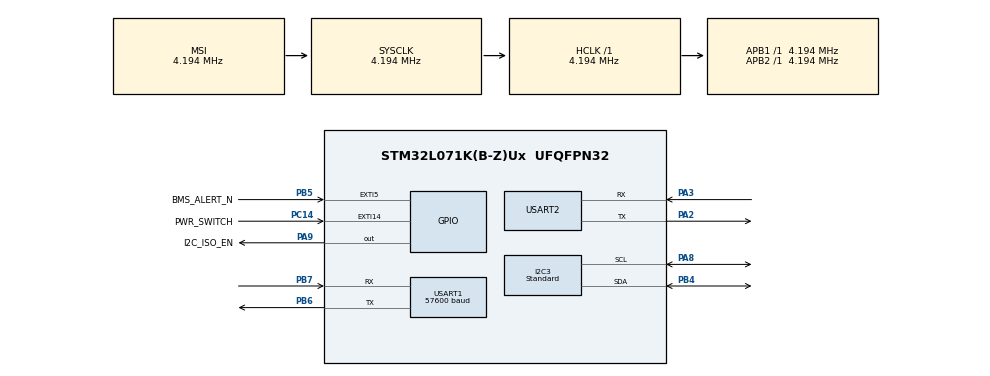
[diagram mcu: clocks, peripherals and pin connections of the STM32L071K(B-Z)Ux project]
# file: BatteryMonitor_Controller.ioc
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CRC.CRCLength=CRC_POLYLENGTH_8B
CRC.DefaultInitValueUse=DEFAULT_INIT_VALUE_DISABLE
CRC.DefaultPolynomialUse=DEFAULT_POLYNOMIAL_DISABLE
I2C3.I2C_Speed_Mode=I2C_Standard
I2C3.OwnAddress=0
I2C3.Timing=0x00100E16
IWDG.Prescaler=IWDG_PRESCALER_256
Mcu.Family=STM32L0
Mcu.Name=STM32L071K(B-Z)Ux
Mcu.Package=UFQFPN32
NVIC.EXTI4_15_IRQn=true\:1\:0\:true\:false\:true\:true\:true\:true
NVIC.USART1_IRQn=true\:2\:0\:true\:false\:true\:true\:true\:true
NVIC.USART2_IRQn=true\:3\:0\:true\:false\:true\:true\:true\:true
PA13.Mode=Serial_Wire
PA13.Signal=SYS_SWDIO
PA14.Mode=Serial_Wire
PA14.Signal=SYS_SWCLK
PA2.Mode=Asynchronous
PA2.Signal=USART2_TX
PA3.Mode=Asynchronous
PA3.Signal=USART2_RX
PA8.Mode=I2C
PA8.Signal=I2C3_SCL
PA9.GPIO_Label=I2C_ISO_EN
PA9.GPIO_ModeDefaultOutputPP=GPIO_MODE_OUTPUT_PP
PA9.GPIO_PuPd=GPIO_NOPULL
PA9.PinState=GPIO_PIN_RESET
PA9.Signal=GPIO_Output
PB4.Mode=I2C
PB4.Signal=I2C3_SDA
PB5.GPIO_Label=BMS_ALERT_N
PB5.GPIO_ModeDefaultEXTI=GPIO_MODE_IT_FALLING
PB5.Signal=GPXTI5
PB6.Mode=Asynchronous
PB6.Signal=USART1_TX
PB7.Mode=Asynchronous
PB7.Signal=USART1_RX
PC14-OSC32_IN.GPIO_Label=PWR_SWITCH
PC14-OSC32_IN.GPIO_ModeDefaultEXTI=GPIO_MODE_IT_RISING_FALLING
PC14-OSC32_IN.GPIO_PuPd=GPIO_PULLUP
PC14-OSC32_IN.Signal=GPXTI14
ProjectManager.HeapSize=0x200
ProjectManager.StackSize=0x400
ProjectManager.TargetToolchain=STM32CubeIDE
RCC.AHBFreq_Value=4194000
RCC.APB1Freq_Value=4194000
RCC.APB1TimFreq_Value=4194000
RCC.APB2Freq_Value=4194000
RCC.APB2TimFreq_Value=4194000
RCC.HCLKFreq_Value=4194000
RCC.HSI16_VALUE=16000000
RCC.HSI_VALUE=16000000
RCC.LSE_VALUE=32768
RCC.MSIClockRange=RCC_MSIRANGE_6
RCC.MSI_VALUE=4194000
RCC.PWR_Regulator_Voltage_Scale=PWR_REGULATOR_VOLTAGE_SCALE3
RCC.SYSCLKFreq_VALUE=4194000
RCC.VCOOutputFreq_Value=48000000
USART1.BaudRate=57600
USART1.VirtualMode-Asynchronous=VM_ASYNC
USART2.VirtualMode-Asynchronous=VM_ASYNC
VP_CRC_VS_CRC.Mode=CRC_Activate
VP_IWDG_VS_IWDG.Mode=IWDG_Activate
board=custom

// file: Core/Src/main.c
/* USER CODE BEGIN Header */
/**
  ******************************************************************************
  * @file           : main.c
  * @brief          : Main program body
  ******************************************************************************
  * @attention
  *
  * Copyright (c) 2024 STMicroelectronics.
  * All rights reserved.
  *
  * This software is licensed under terms that can be found in the LICENSE file
  * in the root directory of this software component.
  * If no LICENSE file comes with this software, it is provided AS-IS.
  *
  ******************************************************************************
  */
/* USER CODE END Header */
#include "main.h"

/* USER CODE BEGIN Includes */
#include "retarget.h"
#include <stdio.h>
#include <string.h>
#include "bms.h"
#include "uart_host.h"
/* USER CODE END Includes */

CRC_HandleTypeDef hcrc;

I2C_HandleTypeDef hi2c3;

IWDG_HandleTypeDef hiwdg;

UART_HandleTypeDef huart1;
UART_HandleTypeDef huart2;

/* USER CODE BEGIN PV */
//power switch status and debouncing logic variables
static uint8_t pwrsw_debounce_count = 0;
static GPIO_PinState pwrsw_last_state = GPIO_PIN_SET;
bool pwrsw_status = false;

//whether the current main loop cycle follows stop mode
static bool wakeup_from_stop = false;
/* USER CODE END PV */

void SystemClock_Config(void);
static void MX_GPIO_Init(void);
static void MX_I2C3_Init(void);
static void MX_USART2_UART_Init(void);
static void MX_CRC_Init(void);
static void MX_IWDG_Init(void);
static void MX_USART1_UART_Init(void);

/* USER CODE BEGIN 0 */
static __always_inline void _RefreshWatchdogs() {
  //HAL_WWDG_Refresh(&hwwdg);
  HAL_IWDG_Refresh(&hiwdg);
}

static void _TestReadDataMem() {
  uint8_t data_mem_values[115] = { 0 };

  DEBUG_PRINTF("Reading contiguous data memory...\n");
  if (BMS_I2C_DataMemoryRead(MEMADDR_CAL_CELL1_GAIN, data_mem_values, 0x5E, 3) == HAL_OK) {
    DEBUG_PRINTF("Success: Contiguous memory read\n");
  } else {
    DEBUG_PRINTF("Contiguous data memory read failed!\n");
  }

  DEBUG_PRINTF("Reading extra data memory...\n");
  if (BMS_I2C_DataMemoryRead(MEMADDR_CAL_CELL4_DELTA, data_mem_values + 0x71, 2, 3) == HAL_OK) {
    DEBUG_PRINTF("Success: Extra memory read\n");
  } else {
    DEBUG_PRINTF("Extra data memory read failed!\n");
  }

  HAL_Delay(10);

  uint8_t configured_mem_values[115] __attribute__((aligned (2))) = { 0 };
  memcpy(configured_mem_values + 0x14, bms_config_main_array, sizeof(bms_config_main_array));
  *(uint16_t*)(configured_mem_values + 0x06) = BMS_CAL_CURR_GAIN;
  *(uint16_t*)(configured_mem_values + 0x0A) = BMS_CAL_CC1_GAIN;

  int i, j;
  DEBUG_PRINTF("\n     _0 _1 _2 _3 _4 _5 _6 _7 _8 _9 _A _B _C _D _E _F\n");
  for (i = 0; i < 8; i++) {
    int end = (i == 7) ? 3 : 16;

    DEBUG_PRINTF("\n r%X_", i);
    for (j = 0; j < end; j++) {
      DEBUG_PRINTF(" %02X", data_mem_values[16 * i + j]);
    }
    DEBUG_PRINTF("\n c%X_", i);
    for (j = 0; j < end; j++) {
      DEBUG_PRINTF(" %02X", configured_mem_values[16 * i + j]);
    }
    DEBUG_PRINTF("\n");
  }
}

GPIO_PinState GPIO_ReadOutputPin(GPIO_TypeDef *GPIOx, uint16_t GPIO_Pin)
{
  GPIO_PinState bitstatus;

  if ((GPIOx->ODR & GPIO_Pin) != (uint32_t)GPIO_PIN_RESET) {
    bitstatus = GPIO_PIN_SET;
  } else {
    bitstatus = GPIO_PIN_RESET;
  }
  return bitstatus;
}

void HAL_GPIO_EXTI_Callback(uint16_t GPIO_Pin) {
  switch (GPIO_Pin) {
    case BMS_ALERT_N_Pin:
      BMS_AlertInterrupt();
      break;
    case PWR_SWITCH_Pin:
      pwrsw_last_state = HAL_GPIO_ReadPin(PWR_SWITCH_GPIO_Port, PWR_SWITCH_Pin);
      pwrsw_debounce_count = MAIN_PWRSW_DEBOUNCE_CYCLES;
      break;
  }
}

void HAL_UART_TxCpltCallback(UART_HandleTypeDef* huart) {
  if (huart == &huart1) {
    UARTH_UART_TxCpltCallback(huart);
  } else if (huart == &huart2) {
    Retarget_UART_TxCpltCallback(huart);
  }
}
/* USER CODE END 0 */

int main(void)
{
  /* USER CODE BEGIN 1 */
  static uint32_t wu_count = 0;
  /* USER CODE END 1 */

  /* MCU Configuration--------------------------------------------------------*/

  /* Reset of all peripherals, Initializes the Flash interface and the Systick. */
  HAL_Init();

  /* Configure the system clock */
  SystemClock_Config();

  /* Initialize all configured peripherals */
  MX_GPIO_Init();
  MX_I2C3_Init();
  MX_USART2_UART_Init();
  MX_CRC_Init();
  MX_IWDG_Init();
  MX_USART1_UART_Init();
  /* USER CODE BEGIN 2 */
  RetargetInit(&huart2);

  //HAL_Delay(10);
  _RefreshWatchdogs();

  DEBUG_PRINTF("Controller started\n");

  //HAL_Delay(1000);

  pwrsw_debounce_count = 0;
  pwrsw_status = (HAL_GPIO_ReadPin(PWR_SWITCH_GPIO_Port, PWR_SWITCH_Pin) == GPIO_PIN_RESET);
  wakeup_from_stop = false;

  //configure for lowest power - not sure if compatible with stop mode, but won't hurt
  HAL_PWREx_EnableUltraLowPower();
  HAL_PWREx_EnableFastWakeUp();

  if (UARTH_Init() == HAL_OK) {
    DEBUG_PRINTF("Host UART init completed\n");
  } else {
    DEBUG_PRINTF("ERROR: Host UART init failed!\n");
    HAL_Delay(100);
    Error_Handler();
  }

  if (pwrsw_status) {
    //if starting powered on: enable isolator and allow one UART hardware error
    uarth_ignore_one_hardware_error = true;
    HAL_GPIO_WritePin(I2C_ISO_EN_GPIO_Port, I2C_ISO_EN_Pin, GPIO_PIN_SET);
  }
  //queue MCU reset notification (will only go through if powered on at startup)
  UARTH_Notification_Event_MCUReset();

  _RefreshWatchdogs();

  if (BMS_Init() == HAL_OK) {
    DEBUG_PRINTF("BMS init completed\n");
  } else {
    DEBUG_PRINTF("ERROR: BMS init failed!\n");
    HAL_Delay(100);
    Error_Handler();
  }

  //HAL_Delay(10);

  _TestReadDataMem();

  //HAL_Delay(10);

  _RefreshWatchdogs();
  /* USER CODE END 2 */

  /* Infinite loop */
  /* USER CODE BEGIN WHILE */
  //loop iteration counter - even if extremely unlikely wrap-around happens, it shouldn't be critical
  uint32_t loop_count = 0;
  while (1)
  {
    /* USER CODE END WHILE */

    /* USER CODE BEGIN 3 */
    uint32_t iteration_start_tick = HAL_GetTick();

    //check power switch: handle debouncing or see if it changed outside of debouncing somehow
    GPIO_PinState switch_state = HAL_GPIO_ReadPin(PWR_SWITCH_GPIO_Port, PWR_SWITCH_Pin);
    if (pwrsw_debounce_count > 0) {
      //if state changed: reset debounce counter
      if (switch_state != pwrsw_last_state) {
        pwrsw_last_state = switch_state;
        pwrsw_debounce_count = MAIN_PWRSW_DEBOUNCE_CYCLES;
      } else if (pwrsw_debounce_count-- == 1) { //same state as before: decrement counter and check if we're at the last cycle
        //last cycle: debounce is done, write switch status based on state
        pwrsw_status = (switch_state == GPIO_PIN_RESET);

        //if power turned off: reset timed shutdowns
        if (!pwrsw_status) {
          BMS_ResetTimedShutdownState();
        }
      }
    } else if (pwrsw_status != (switch_state == GPIO_PIN_RESET)) {
      //this shouldn't really ever happen
      DEBUG_PRINTF("WARNING: Power switch change detected that somehow wasn't caught by an interrupt\n");
      pwrsw_last_state = switch_state;
      pwrsw_debounce_count = MAIN_PWRSW_DEBOUNCE_CYCLES;
    }

    //apply power switch status to desired BMS state
    bms_should_deepsleep = !pwrsw_status;

    if (wakeup_from_stop) {
      //exit deepsleep after wakeup, to allow measurements
      BMS_ExitDeepSleep();
    }

    BMS_LoopUpdate(loop_count);

    bool deepsleep_desired = BMS_GetDeepSleepDesiredState();

    if (!deepsleep_desired) {
      //not in deepsleep desired mode: check if isolator enabled
      if (GPIO_ReadOutputPin(I2C_ISO_EN_GPIO_Port, I2C_ISO_EN_Pin) == GPIO_PIN_RESET) {
        //isolator disabled: reinitialise host UART interface, then enable isolator and allow one more UART error
        UARTH_Init();
        uarth_ignore_one_hardware_error = true;
        uarth_ignore_hardware_errors = false;
        HAL_GPIO_WritePin(I2C_ISO_EN_GPIO_Port, I2C_ISO_EN_Pin, GPIO_PIN_SET);
      }

      //perform UART host updates
      UARTH_Update(loop_count);
    } else if (GPIO_ReadOutputPin(I2C_ISO_EN_GPIO_Port, I2C_ISO_EN_Pin) == GPIO_PIN_SET) {
      //in deepsleep desired mode and isolator is enabled: abort any host UART transactions, then disable isolator and ignore UART errors
      HAL_UART_Abort(&huart1);
      uarth_ignore_hardware_errors = true;
      HAL_GPIO_WritePin(I2C_ISO_EN_GPIO_Port, I2C_ISO_EN_Pin, GPIO_PIN_RESET);
    }

    _RefreshWatchdogs();

    //check whether to stop or continue to next loop, stop conditions: BMS trying to deepsleep, no ongoing debounce, BMS in deepsleep, BMS alert pin is high (no alert)
    if (deepsleep_desired && pwrsw_debounce_count == 0 && bms_status.mode == BMSMODE_DEEPSLEEP && HAL_GPIO_ReadPin(BMS_ALERT_N_GPIO_Port, BMS_ALERT_N_Pin) == GPIO_PIN_SET) {
      //prepare everything for a check cycle after wakeup
      loop_count = 0;
      wakeup_from_stop = true;

      //enter stop mode
      __HAL_PWR_CLEAR_FLAG(PWR_FLAG_WU);
      HAL_PWR_EnterSTOPMode(PWR_LOWPOWERREGULATOR_ON, PWR_STOPENTRY_WFI);

      _RefreshWatchdogs();
      DEBUG_PRINTF("Woke up from STOP, loop before stop took %lu ms, count %lu\n", HAL_GetTick() - iteration_start_tick, wu_count++);
    } else {
      //just go to next loop after corresponding delay
      loop_count++;
      wakeup_from_stop = false;
      while((HAL_GetTick() - iteration_start_tick) < MAIN_LOOP_PERIOD_MS); //replaces HAL_Delay() to not wait any unnecessary extra ticks
    }
  }
  /* USER CODE END 3 */
}

void SystemClock_Config(void)
{
  RCC_OscInitTypeDef RCC_OscInitStruct = {0};
  RCC_ClkInitTypeDef RCC_ClkInitStruct = {0};
  RCC_PeriphCLKInitTypeDef PeriphClkInit = {0};

  /** Configure the main internal regulator output voltage
  */
  __HAL_PWR_VOLTAGESCALING_CONFIG(PWR_REGULATOR_VOLTAGE_SCALE3);

  /** Initializes the RCC Oscillators according to the specified parameters
  * in the RCC_OscInitTypeDef structure.
  */
  RCC_OscInitStruct.OscillatorType = RCC_OSCILLATORTYPE_LSI|RCC_OSCILLATORTYPE_MSI;
  RCC_OscInitStruct.LSIState = RCC_LSI_ON;
  RCC_OscInitStruct.MSIState = RCC_MSI_ON;
  RCC_OscInitStruct.MSICalibrationValue = 0;
  RCC_OscInitStruct.MSIClockRange = RCC_MSIRANGE_6;
  RCC_OscInitStruct.PLL.PLLState = RCC_PLL_NONE;
  if (HAL_RCC_OscConfig(&RCC_OscInitStruct) != HAL_OK)
  {
    Error_Handler();
  }

  /** Initializes the CPU, AHB and APB buses clocks
  */
  RCC_ClkInitStruct.ClockType = RCC_CLOCKTYPE_HCLK|RCC_CLOCKTYPE_SYSCLK
                              |RCC_CLOCKTYPE_PCLK1|RCC_CLOCKTYPE_PCLK2;
  RCC_ClkInitStruct.SYSCLKSource = RCC_SYSCLKSOURCE_MSI;
  RCC_ClkInitStruct.AHBCLKDivider = RCC_SYSCLK_DIV1;
  RCC_ClkInitStruct.APB1CLKDivider = RCC_HCLK_DIV1;
  RCC_ClkInitStruct.APB2CLKDivider = RCC_HCLK_DIV1;

  if (HAL_RCC_ClockConfig(&RCC_ClkInitStruct, FLASH_LATENCY_0) != HAL_OK)
  {
    Error_Handler();
  }
  PeriphClkInit.PeriphClockSelection = RCC_PERIPHCLK_USART1|RCC_PERIPHCLK_USART2
                              |RCC_PERIPHCLK_I2C3;
  PeriphClkInit.Usart1ClockSelection = RCC_USART1CLKSOURCE_PCLK2;
  PeriphClkInit.Usart2ClockSelection = RCC_USART2CLKSOURCE_PCLK1;
  PeriphClkInit.I2c3ClockSelection = RCC_I2C3CLKSOURCE_PCLK1;
  if (HAL_RCCEx_PeriphCLKConfig(&PeriphClkInit) != HAL_OK)
  {
    Error_Handler();
  }
}

static void MX_CRC_Init(void)
{

  hcrc.Instance = CRC;
  hcrc.Init.DefaultPolynomialUse = DEFAULT_POLYNOMIAL_DISABLE;
  hcrc.Init.DefaultInitValueUse = DEFAULT_INIT_VALUE_DISABLE;
  hcrc.Init.GeneratingPolynomial = 7;
  hcrc.Init.CRCLength = CRC_POLYLENGTH_8B;
  hcrc.Init.InitValue = 0;
  hcrc.Init.InputDataInversionMode = CRC_INPUTDATA_INVERSION_NONE;
  hcrc.Init.OutputDataInversionMode = CRC_OUTPUTDATA_INVERSION_DISABLE;
  hcrc.InputDataFormat = CRC_INPUTDATA_FORMAT_BYTES;
  if (HAL_CRC_Init(&hcrc) != HAL_OK)
  {
    Error_Handler();
  }

}

static void MX_I2C3_Init(void)
{

  hi2c3.Instance = I2C3;
  hi2c3.Init.Timing = 0x00100E16;
  hi2c3.Init.OwnAddress1 = 0;
  hi2c3.Init.AddressingMode = I2C_ADDRESSINGMODE_7BIT;
  hi2c3.Init.DualAddressMode = I2C_DUALADDRESS_DISABLE;
  hi2c3.Init.OwnAddress2 = 0;
  hi2c3.Init.OwnAddress2Masks = I2C_OA2_NOMASK;
  hi2c3.Init.GeneralCallMode = I2C_GENERALCALL_DISABLE;
  hi2c3.Init.NoStretchMode = I2C_NOSTRETCH_DISABLE;
  if (HAL_I2C_Init(&hi2c3) != HAL_OK)
  {
    Error_Handler();
  }

  /** Configure Analogue filter
  */
  if (HAL_I2CEx_ConfigAnalogFilter(&hi2c3, I2C_ANALOGFILTER_ENABLE) != HAL_OK)
  {
    Error_Handler();
  }

  /** Configure Digital filter
  */
  if (HAL_I2CEx_ConfigDigitalFilter(&hi2c3, 0) != HAL_OK)
  {
    Error_Handler();
  }

}

static void MX_IWDG_Init(void)
{

  hiwdg.Instance = IWDG;
  hiwdg.Init.Prescaler = IWDG_PRESCALER_256;
  hiwdg.Init.Window = 4095;
  hiwdg.Init.Reload = 4095;
  if (HAL_IWDG_Init(&hiwdg) != HAL_OK)
  {
    Error_Handler();
  }

}

static void MX_USART1_UART_Init(void)
{

  huart1.Instance = USART1;
  huart1.Init.BaudRate = 57600;
  huart1.Init.WordLength = UART_WORDLENGTH_8B;
  huart1.Init.StopBits = UART_STOPBITS_1;
  huart1.Init.Parity = UART_PARITY_NONE;
  huart1.Init.Mode = UART_MODE_TX_RX;
  huart1.Init.HwFlowCtl = UART_HWCONTROL_NONE;
  huart1.Init.OverSampling = UART_OVERSAMPLING_16;
  huart1.Init.OneBitSampling = UART_ONE_BIT_SAMPLE_DISABLE;
  huart1.AdvancedInit.AdvFeatureInit = UART_ADVFEATURE_NO_INIT;
  if (HAL_UART_Init(&huart1) != HAL_OK)
  {
    Error_Handler();
  }

}

static void MX_USART2_UART_Init(void)
{

  huart2.Instance = USART2;
  huart2.Init.BaudRate = 115200;
  huart2.Init.WordLength = UART_WORDLENGTH_8B;
  huart2.Init.StopBits = UART_STOPBITS_1;
  huart2.Init.Parity = UART_PARITY_NONE;
  huart2.Init.Mode = UART_MODE_TX_RX;
  huart2.Init.HwFlowCtl = UART_HWCONTROL_NONE;
  huart2.Init.OverSampling = UART_OVERSAMPLING_16;
  huart2.Init.OneBitSampling = UART_ONE_BIT_SAMPLE_DISABLE;
  huart2.AdvancedInit.AdvFeatureInit = UART_ADVFEATURE_NO_INIT;
  if (HAL_UART_Init(&huart2) != HAL_OK)
  {
    Error_Handler();
  }

}

static void MX_GPIO_Init(void)
{
  GPIO_InitTypeDef GPIO_InitStruct = {0};

  /* GPIO Ports Clock Enable */
  __HAL_RCC_GPIOC_CLK_ENABLE();
  __HAL_RCC_GPIOA_CLK_ENABLE();
  __HAL_RCC_GPIOB_CLK_ENABLE();

  /*Configure GPIO pin Output Level */
  HAL_GPIO_WritePin(I2C_ISO_EN_GPIO_Port, I2C_ISO_EN_Pin, GPIO_PIN_RESET);

  /*Configure GPIO pin : PWR_SWITCH_Pin */
  GPIO_InitStruct.Pin = PWR_SWITCH_Pin;
  GPIO_InitStruct.Mode = GPIO_MODE_IT_RISING_FALLING;
  GPIO_InitStruct.Pull = GPIO_PULLUP;
  HAL_GPIO_Init(PWR_SWITCH_GPIO_Port, &GPIO_InitStruct);

  /*Configure GPIO pin : PC15 */
  GPIO_InitStruct.Pin = GPIO_PIN_15;
  GPIO_InitStruct.Mode = GPIO_MODE_ANALOG;
  GPIO_InitStruct.Pull = GPIO_NOPULL;
  HAL_GPIO_Init(GPIOC, &GPIO_InitStruct);

  /*Configure GPIO pins : PA0 PA1 PA4 PA5
                           PA6 PA7 PA10 PA11
                           PA12 */
  GPIO_InitStruct.Pin = GPIO_PIN_0|GPIO_PIN_1|GPIO_PIN_4|GPIO_PIN_5
                          |GPIO_PIN_6|GPIO_PIN_7|GPIO_PIN_10|GPIO_PIN_11
                          |GPIO_PIN_12;
  GPIO_InitStruct.Mode = GPIO_MODE_ANALOG;
  GPIO_InitStruct.Pull = GPIO_NOPULL;
  HAL_GPIO_Init(GPIOA, &GPIO_InitStruct);

  /*Configure GPIO pins : PB0 PB1 */
  GPIO_InitStruct.Pin = GPIO_PIN_0|GPIO_PIN_1;
  GPIO_InitStruct.Mode = GPIO_MODE_ANALOG;
  GPIO_InitStruct.Pull = GPIO_NOPULL;
  HAL_GPIO_Init(GPIOB, &GPIO_InitStruct);

  /*Configure GPIO pin : I2C_ISO_EN_Pin */
  GPIO_InitStruct.Pin = I2C_ISO_EN_Pin;
  GPIO_InitStruct.Mode = GPIO_MODE_OUTPUT_PP;
  GPIO_InitStruct.Pull = GPIO_NOPULL;
  GPIO_InitStruct.Speed = GPIO_SPEED_FREQ_LOW;
  HAL_GPIO_Init(I2C_ISO_EN_GPIO_Port, &GPIO_InitStruct);

  /*Configure GPIO pin : BMS_ALERT_N_Pin */
  GPIO_InitStruct.Pin = BMS_ALERT_N_Pin;
  GPIO_InitStruct.Mode = GPIO_MODE_IT_FALLING;
  GPIO_InitStruct.Pull = GPIO_NOPULL;
  HAL_GPIO_Init(BMS_ALERT_N_GPIO_Port, &GPIO_InitStruct);

  /* EXTI interrupt init*/
  HAL_NVIC_SetPriority(EXTI4_15_IRQn, 1, 0);
  HAL_NVIC_EnableIRQ(EXTI4_15_IRQn);

}

void Error_Handler(void)
{
  __disable_irq();
  while (1)
  {
  }
}
